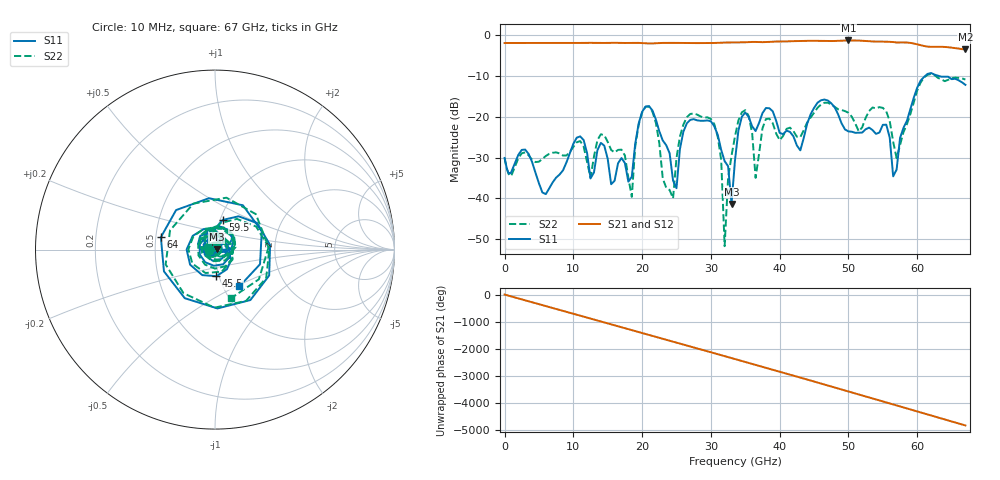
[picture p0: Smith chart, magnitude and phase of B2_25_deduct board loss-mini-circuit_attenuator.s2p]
!Keysight Technologies,N5247B,MY61255065,A.16.20.04
!Date: Sunday, September 03, 2023 21:52:06
!Correction: S11(C  2-Port  )
!S21(C  2-Port  )
!S12(C  2-Port  )
!S22(C  2-Port  )
!S2P File: Measurements: S11, S21, S12, S22:
!Deduct Board Loss
# Hz S  dB  R 50
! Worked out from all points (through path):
!   142 points, 10 MHz to 67 GHz, reference 50 ohm
!   highest |S21| = -1.32 dB at 50 GHz (marker M1); lowest = -3.5 dB at 67 GHz (marker M2)
!   lowest |S11| = -41.4 dB at 33 GHz (marker M3), VSWR 1.02, Z = 50.9 + j0.116 ohm
!   |S11| at or under -10 dB: start of sweep to 61.16 GHz; 63.13 GHz to end of sweep
!   |S22| runs from -51.7 to -9.5 dB; largest |S21 - S12| = 0.0035
!   S11 on the Smith chart (normalised r, x): 10 MHz: 0.94, -0.01; 45.5 GHz: 0.97, -0.29; 59.5 GHz: 1.03, +0.35; 64 GHz: 0.53, +0.08; 67 GHz: 1.19, -0.52
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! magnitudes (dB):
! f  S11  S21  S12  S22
! 10 MHz  -30.1  -1.9  -1.9  -30.1
! 6 GHz  -39.0  -1.9  -1.9  -29.6
! 11.5 GHz  -25.7  -1.9  -1.9  -27.3
! 18.5 GHz  -34.7  -1.9  -1.9  -39.7
! 20 GHz  -18.8  -2.0  -2.0  -19.0
! 22.5 GHz  -23.6  -2.0  -2.0  -26.5
! 24.5 GHz  -35.7  -1.9  -1.9  -40.0
! 26.5 GHz  -21.6  -2.0  -2.0  -20.1
! 30.5 GHz  -22.4  -1.9  -1.9  -21.9
! 31.5 GHz  -28.1  -1.9  -1.9  -30.7
! 32 GHz  -30.9  -1.8  -1.8  -51.7
! 33 GHz  -41.4  -1.8  -1.8  -29.6
! 34 GHz  -23.4  -1.8  -1.8  -20.9
! 36.5 GHz  -23.5  -1.7  -1.7  -35.0
! 38 GHz  -17.9  -1.7  -1.7  -20.6
! 45 GHz  -17.8  -1.4  -1.4  -19.0
! 45.5 GHz  -16.6  -1.4  -1.4  -17.8
! 50 GHz  -23.6  -1.3  -1.3  -19.0
! 56 GHz  -25.1  -1.7  -1.7  -21.1
! 59.5 GHz  -15.3  -2.1  -2.1  -16.4
! 64 GHz  -10.2  -2.9  -2.9  -11.3
! 67 GHz  -12.2  -3.5  -3.5  -10.9
